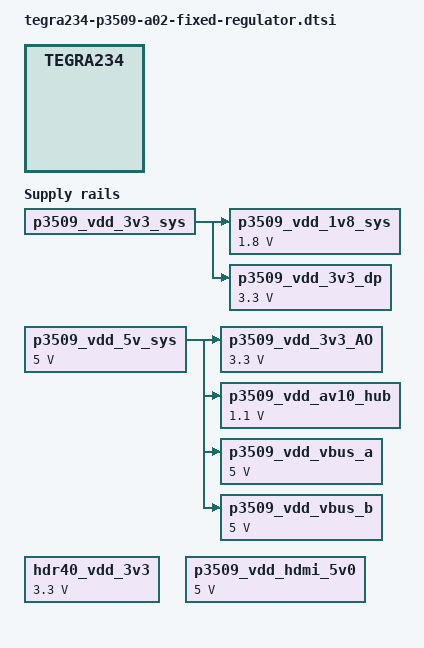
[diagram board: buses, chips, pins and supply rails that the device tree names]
/*
 * Copyright (c) 2022, NVIDIA CORPORATION.  All rights reserved.
 *
 * This program is free software; you can redistribute it and/or modify
 * it under the terms of the GNU General Public License as published by
 * the Free Software Foundation; either version 2 of the License, or
 * (at your option) any later version.
 *
 * This program is distributed in the hope that it will be useful, but WITHOUT
 * ANY WARRANTY; without even the implied warranty of MERCHANTABILITY or
 * FITNESS FOR A PARTICULAR PURPOSE.  See the GNU General Public License for
 * more details.
 */

/ {
	fixed-regulators {
		p3509_vdd_5v_sys: regulator@100 {
			/* Enable is automatic with DC_IN */
			compatible = "regulator-fixed";
			reg = <100>;
			regulator-name = "vdd-5v-sys";
			regulator-min-microvolt = <5000000>;
			regulator-max-microvolt = <5000000>;
			regulator-always-on;
		};
		hdr40_vdd_3v3: p3509_vdd_3v3_sys: regulator@101 {
			/* BUCK_3V3_EN enable is driven by button MCU */
			compatible = "regulator-fixed";
			reg = <101>;
			regulator-name = "vdd-3v3-sys";
			regulator-min-microvolt = <3300000>;
			regulator-max-microvolt = <3300000>;
			regulator-always-on;
		};
		p3509_vdd_1v8_sys: regulator@102 {
			/* BUCK_3V3_PG enable is driven by p3509_vdd_3v3_sys */
			compatible = "regulator-fixed";
			reg = <102>;
			regulator-name = "vdd-1v8";
			regulator-min-microvolt = <1800000>;
			regulator-max-microvolt = <1800000>;
			vin-supply = <&p3509_vdd_3v3_sys>;
			regulator-always-on;
		};
		p3509_vdd_3v3_AO: regulator@103 {
			/* BUCK_5V_PG enable is driven by 5v_sys */
			compatible = "regulator-fixed";
			reg = <103>;
			regulator-name = "vdd-3v3-AO";
			regulator-min-microvolt = <3300000>;
			regulator-max-microvolt = <3300000>;
			vin-supply = <&p3509_vdd_5v_sys>;
			regulator-always-on;
		};
		p3509_vdd_av10_hub: regulator@104 {
			/* BUCK_3V3_PG enable is driven 3v3_sys */
			compatible = "regulator-fixed";
			reg = <104>;
			regulator-name = "vdd-av10-hub";
			regulator-min-microvolt = <1100000>;
			regulator-max-microvolt = <1100000>;
			vin-supply = <&p3509_vdd_5v_sys>;
			regulator-always-on;
		};
		p3509_vdd_vbus_a: regulator@105 {
			/* HUB_DSP12_PWR_EN enable is driven usb hub's gpio */
			compatible = "regulator-fixed";
			reg = <105>;
			regulator-name = "vdd-vbus-a";
			regulator-min-microvolt = <5000000>;
			regulator-max-microvolt = <5000000>;
			vin-supply = <&p3509_vdd_5v_sys>;
			regulator-always-on;
		};
		p3509_vdd_vbus_b: regulator@106 {
			/* HUB_DSP34_PWR_EN enable is driven usb hub's gpio */
			compatible = "regulator-fixed";
			reg = <106>;
			regulator-name = "vdd-vbus-b";
			regulator-min-microvolt = <5000000>;
			regulator-max-microvolt = <5000000>;
			vin-supply = <&p3509_vdd_5v_sys>;
			regulator-always-on;
		};
		p3509_vdd_hdmi_5v0: regulator@107 {
			/* SOC_PWR_REQ->MOD_SLEEP->VDD_3V3_HDMI->VDD_5V0_HDMI_CN */
			compatible = "regulator-fixed";
			reg = <107>;
			regulator-name = "vdd-hdmi-5v0";
			regulator-min-microvolt = <5000000>;
			regulator-max-microvolt = <5000000>;
			regulator-always-on;
		};
		p3509_vdd_3v3_dp: regulator@108 {
			/* BUCK_3V3_PG enable is driven 3v3_sys */
			compatible = "regulator-fixed";
			reg = <108>;
			regulator-name = "vdd-3v3-dp";
			regulator-min-microvolt = <3300000>;
			regulator-max-microvolt = <3300000>;
			vin-supply = <&p3509_vdd_3v3_sys>;
			regulator-always-on;
		};
	};
};
